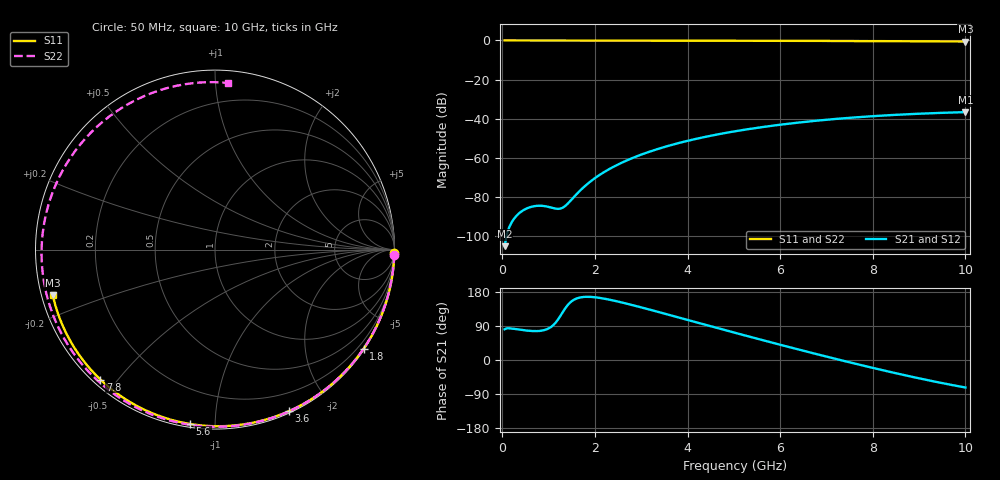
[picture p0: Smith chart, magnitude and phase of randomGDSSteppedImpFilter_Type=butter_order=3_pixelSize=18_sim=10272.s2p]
! freq	dB(S11)	phase(S11)	dB(S12)	phase(S12)
!  dB(S21)	phase(S21)	dB(S22)	phase(S22)
!S-par simulation data
#  GHz  S  DB  R 50
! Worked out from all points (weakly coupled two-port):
!   200 points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, 50 MHz to 10 GHz, reference 50 ohm
!   highest |S21| = -36.57 dB at 10 GHz (marker M1); lowest = -105.0 dB at 50 MHz (marker M2)
!   lowest |S11| = -0.5 dB at 10 GHz (marker M3), VSWR 31.70, Z = 1.61 - j6.88 ohm
!   |S11| at or under -10 dB: nowhere
!   |S22| runs from -0.6 to 0.0 dB; largest |S21 - S12| = 0
!   S11 on the Smith chart (normalised r, x): 50 MHz: open; 1.8 GHz: 0.03, -3.30; 3.6 GHz: 0.02, -1.55; 5.6 GHz: 0.02, -0.87; 7.8 GHz: 0.02, -0.45; 10 GHz: 0.03, -0.14
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0.05  -0.00 -0.9  -104.98 81.0  -104.98 81.0  -0.00 -1.6
0.75  -0.02 -14.2  -84.40 76.3  -84.40 76.3  -0.03 -24.7
1.5  -0.04 -28.2  -81.11 155.2  -81.11 155.2  -0.06 -48.7
1.55  -0.04 -29.1  -79.81 159.2  -79.81 159.2  -0.06 -50.2
1.75  -0.04 -32.8  -75.05 166.3  -75.05 166.3  -0.07 -56.4
1.8  -0.04 -33.7  -73.99 166.7  -73.99 166.7  -0.07 -57.9
2.1  -0.05 -39.2  -68.64 163.9  -68.64 163.9  -0.08 -66.9
2.45  -0.06 -45.5  -63.88 155.6  -63.88 155.6  -0.10 -77.2
2.9  -0.07 -53.5  -59.16 142.1  -59.16 142.1  -0.11 -90.0
3.4  -0.08 -62.1  -55.08 125.8  -55.08 125.8  -0.13 -103.6
3.6  -0.09 -65.6  -53.69 119.2  -53.69 119.2  -0.14 -108.9
4.35  -0.11 -78.1  -49.36 94.1  -49.36 94.1  -0.17 -128.1
5.05  -0.14 -89.5  -46.25 71.0  -46.25 71.0  -0.20 -145.4
5.6  -0.16 -98.1  -44.26 53.1  -44.26 53.1  -0.24 -158.7
6.15  -0.19 -106.6  -42.58 35.5  -42.58 35.5  -0.27 -172.0
6.7  -0.22 -115.0  -41.15 18.2  -41.15 18.2  -0.31 174.7
7.25  -0.26 -123.2  -39.96 1.4  -39.96 1.4  -0.36 161.1
7.8  -0.31 -131.4  -38.96 -15.0  -38.96 -15.0  -0.41 147.2
8.35  -0.36 -139.5  -38.15 -30.8  -38.15 -30.8  -0.46 132.7
9.2  -0.45 -152.2  -37.20 -53.5  -37.20 -53.5  -0.54 109.1
9.6  -0.50 -158.2  -36.86 -63.4  -36.86 -63.4  -0.58 97.4
10  -0.55 -164.3  -36.57 -72.6  -36.57 -72.6  -0.62 85.5
